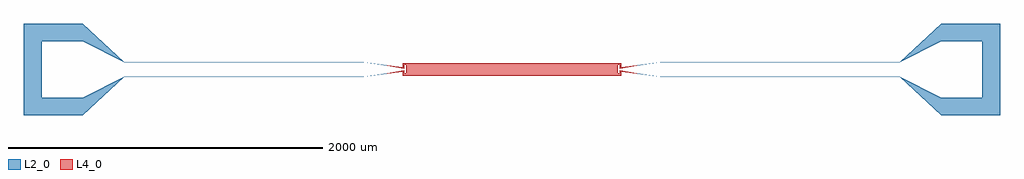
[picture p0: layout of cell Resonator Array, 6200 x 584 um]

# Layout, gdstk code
import gdstk
lib = gdstk.Library(unit=1e-6, precision=1e-09)
def P(c, l, *ps):  # polygons
    for p in ps: c.add(gdstk.Polygon(p, *l))
L2_0 = (2, 0)
L4_0 = (4, 0)

resonator_array = lib.new_cell('Resonator Array')
P(resonator_array, L2_0, [(1437,51.306),(1437,47.259),(1587,69.9),(3108.25,69.9),(3370.125,204.9),(3632,204.9),(3632,-155.1),(3370.125,-155.1),(3108.25,-20.1),(1587,-20.1),(1437,2.541),(1437,-1.506),(1587,-21.6),(3108.25,-21.6),(3370.125,-267.1),(3744,-267.1),(3744,316.9),(3370.125,316.9),(3108.25,71.4),(1587,71.4)],
  [(-2456,316.9),(-2456,-267.1),(-2082.125,-267.1),(-1820.25,-21.6),(-299,-21.6),(-149,-1.506),(-149,2.541),(-299,-20.1),(-1820.25,-20.1),(-2082.125,-155.1),(-2344,-155.1),(-2344,204.9),(-2082.125,204.9),(-1820.25,69.9),(-299,69.9),(-149,47.259),(-149,51.306),(-299,71.4),(-1820.25,71.4),(-2082.125,316.9)])
P(resonator_array, L4_0, [(362.5,64.8),(336.25,64.8),(336.25,55.65),(327.1,55.65),(327.1,51.15),(345.4,51.15),(345.4,45.65),(327.1,45.65),(327.1,41.15),(345.4,41.15),(345.4,35.65),(327.1,35.65),(327.1,31.15),(345.4,31.15),(345.4,25.65),(327.1,25.65),(327.1,21.15),(345.4,21.15),(345.4,15.65),(327.1,15.65),(327.1,11.15),(336.25,11.15),(336.25,2),(353,2),(353,56.15),(355,56.15),(355,0),(317,0),(317,56.15),(319,56.15),(319,2),(335.75,2),(335.75,10.65),(326.6,10.65),(326.6,16.15),(344.9,16.15),(344.9,20.65),(326.6,20.65),(326.6,26.15),(344.9,26.15),(344.9,30.65),(326.6,30.65),(326.6,36.15),(344.9,36.15),(344.9,40.65),(326.6,40.65),(326.6,46.15),(344.9,46.15),(344.9,50.65),(326.6,50.65),(326.6,56.15),(335.75,56.15),(335.75,64.8),(309.5,64.8),(309.5,-15),(362.5,-15)],
  [(82.5,64.8),(56.25,64.8),(56.25,55.65),(47.1,55.65),(47.1,51.15),(65.4,51.15),(65.4,45.65),(47.1,45.65),(47.1,41.15),(65.4,41.15),(65.4,35.65),(47.1,35.65),(47.1,31.15),(65.4,31.15),(65.4,25.65),(47.1,25.65),(47.1,21.15),(65.4,21.15),(65.4,15.65),(47.1,15.65),(47.1,11.15),(56.25,11.15),(56.25,2),(73,2),(73,56.15),(75,56.15),(75,0),(37,0),(37,56.15),(39,56.15),(39,2),(55.75,2),(55.75,10.65),(46.6,10.65),(46.6,16.15),(64.9,16.15),(64.9,20.65),(46.6,20.65),(46.6,26.15),(64.9,26.15),(64.9,30.65),(46.6,30.65),(46.6,36.15),(64.9,36.15),(64.9,40.65),(46.6,40.65),(46.6,46.15),(64.9,46.15),(64.9,50.65),(46.6,50.65),(46.6,56.15),(55.75,56.15),(55.75,64.8),(29.5,64.8),(29.5,-15),(82.5,-15)],
  [(194.5,64.8),(168.25,64.8),(168.25,55.65),(159.1,55.65),(159.1,51.15),(177.4,51.15),(177.4,45.65),(159.1,45.65),(159.1,41.15),(177.4,41.15),(177.4,35.65),(159.1,35.65),(159.1,31.15),(177.4,31.15),(177.4,25.65),(159.1,25.65),(159.1,21.15),(177.4,21.15),(177.4,15.65),(159.1,15.65),(159.1,11.15),(168.25,11.15),(168.25,2),(185,2),(185,56.15),(187,56.15),(187,0),(149,0),(149,56.15),(151,56.15),(151,2),(167.75,2),(167.75,10.65),(158.6,10.65),(158.6,16.15),(176.9,16.15),(176.9,20.65),(158.6,20.65),(158.6,26.15),(176.9,26.15),(176.9,30.65),(158.6,30.65),(158.6,36.15),(176.9,36.15),(176.9,40.65),(158.6,40.65),(158.6,46.15),(176.9,46.15),(176.9,50.65),(158.6,50.65),(158.6,56.15),(167.75,56.15),(167.75,64.8),(141.5,64.8),(141.5,-15),(194.5,-15)],
  [(138.5,64.8),(112.25,64.8),(112.25,55.65),(103.1,55.65),(103.1,51.15),(121.4,51.15),(121.4,45.65),(103.1,45.65),(103.1,41.15),(121.4,41.15),(121.4,35.65),(103.1,35.65),(103.1,31.15),(121.4,31.15),(121.4,25.65),(103.1,25.65),(103.1,21.15),(121.4,21.15),(121.4,15.65),(103.1,15.65),(103.1,11.15),(112.25,11.15),(112.25,2),(129,2),(129,56.15),(131,56.15),(131,0),(93,0),(93,56.15),(95,56.15),(95,2),(111.75,2),(111.75,10.65),(102.6,10.65),(102.6,16.15),(120.9,16.15),(120.9,20.65),(102.6,20.65),(102.6,26.15),(120.9,26.15),(120.9,30.65),(102.6,30.65),(102.6,36.15),(120.9,36.15),(120.9,40.65),(102.6,40.65),(102.6,46.15),(120.9,46.15),(120.9,50.65),(102.6,50.65),(102.6,56.15),(111.75,56.15),(111.75,64.8),(85.5,64.8),(85.5,-15),(138.5,-15)],
  [(866.5,64.8),(840.25,64.8),(840.25,55.65),(831.1,55.65),(831.1,51.15),(849.4,51.15),(849.4,45.65),(831.1,45.65),(831.1,41.15),(849.4,41.15),(849.4,35.65),(831.1,35.65),(831.1,31.15),(849.4,31.15),(849.4,25.65),(831.1,25.65),(831.1,21.15),(849.4,21.15),(849.4,15.65),(831.1,15.65),(831.1,11.15),(840.25,11.15),(840.25,2),(857,2),(857,56.15),(859,56.15),(859,0),(821,0),(821,56.15),(823,56.15),(823,2),(839.75,2),(839.75,10.65),(830.6,10.65),(830.6,16.15),(848.9,16.15),(848.9,20.65),(830.6,20.65),(830.6,26.15),(848.9,26.15),(848.9,30.65),(830.6,30.65),(830.6,36.15),(848.9,36.15),(848.9,40.65),(830.6,40.65),(830.6,46.15),(848.9,46.15),(848.9,50.65),(830.6,50.65),(830.6,56.15),(839.75,56.15),(839.75,64.8),(813.5,64.8),(813.5,-15),(866.5,-15)],
  [(922.5,64.8),(896.25,64.8),(896.25,55.65),(887.1,55.65),(887.1,51.15),(905.4,51.15),(905.4,45.65),(887.1,45.65),(887.1,41.15),(905.4,41.15),(905.4,35.65),(887.1,35.65),(887.1,31.15),(905.4,31.15),(905.4,25.65),(887.1,25.65),(887.1,21.15),(905.4,21.15),(905.4,15.65),(887.1,15.65),(887.1,11.15),(896.25,11.15),(896.25,2),(913,2),(913,56.15),(915,56.15),(915,0),(877,0),(877,56.15),(879,56.15),(879,2),(895.75,2),(895.75,10.65),(886.6,10.65),(886.6,16.15),(904.9,16.15),(904.9,20.65),(886.6,20.65),(886.6,26.15),(904.9,26.15),(904.9,30.65),(886.6,30.65),(886.6,36.15),(904.9,36.15),(904.9,40.65),(886.6,40.65),(886.6,46.15),(904.9,46.15),(904.9,50.65),(886.6,50.65),(886.6,56.15),(895.75,56.15),(895.75,64.8),(869.5,64.8),(869.5,-15),(922.5,-15)],
  [(418.5,64.8),(392.25,64.8),(392.25,55.65),(383.1,55.65),(383.1,51.15),(401.4,51.15),(401.4,45.65),(383.1,45.65),(383.1,41.15),(401.4,41.15),(401.4,35.65),(383.1,35.65),(383.1,31.15),(401.4,31.15),(401.4,25.65),(383.1,25.65),(383.1,21.15),(401.4,21.15),(401.4,15.65),(383.1,15.65),(383.1,11.15),(392.25,11.15),(392.25,2),(409,2),(409,56.15),(411,56.15),(411,0),(373,0),(373,56.15),(375,56.15),(375,2),(391.75,2),(391.75,10.65),(382.6,10.65),(382.6,16.15),(400.9,16.15),(400.9,20.65),(382.6,20.65),(382.6,26.15),(400.9,26.15),(400.9,30.65),(382.6,30.65),(382.6,36.15),(400.9,36.15),(400.9,40.65),(382.6,40.65),(382.6,46.15),(400.9,46.15),(400.9,50.65),(382.6,50.65),(382.6,56.15),(391.75,56.15),(391.75,64.8),(365.5,64.8),(365.5,-15),(418.5,-15)],
  [(978.5,64.8),(952.25,64.8),(952.25,55.65),(943.1,55.65),(943.1,51.15),(961.4,51.15),(961.4,45.65),(943.1,45.65),(943.1,41.15),(961.4,41.15),(961.4,35.65),(943.1,35.65),(943.1,31.15),(961.4,31.15),(961.4,25.65),(943.1,25.65),(943.1,21.15),(961.4,21.15),(961.4,15.65),(943.1,15.65),(943.1,11.15),(952.25,11.15),(952.25,2),(969,2),(969,56.15),(971,56.15),(971,0),(933,0),(933,56.15),(935,56.15),(935,2),(951.75,2),(951.75,10.65),(942.6,10.65),(942.6,16.15),(960.9,16.15),(960.9,20.65),(942.6,20.65),(942.6,26.15),(960.9,26.15),(960.9,30.65),(942.6,30.65),(942.6,36.15),(960.9,36.15),(960.9,40.65),(942.6,40.65),(942.6,46.15),(960.9,46.15),(960.9,50.65),(942.6,50.65),(942.6,56.15),(951.75,56.15),(951.75,64.8),(925.5,64.8),(925.5,-15),(978.5,-15)],
  [(474.5,64.8),(448.25,64.8),(448.25,55.65),(439.1,55.65),(439.1,51.15),(457.4,51.15),(457.4,45.65),(439.1,45.65),(439.1,41.15),(457.4,41.15),(457.4,35.65),(439.1,35.65),(439.1,31.15),(457.4,31.15),(457.4,25.65),(439.1,25.65),(439.1,21.15),(457.4,21.15),(457.4,15.65),(439.1,15.65),(439.1,11.15),(448.25,11.15),(448.25,2),(465,2),(465,56.15),(467,56.15),(467,0),(429,0),(429,56.15),(431,56.15),(431,2),(447.75,2),(447.75,10.65),(438.6,10.65),(438.6,16.15),(456.9,16.15),(456.9,20.65),(438.6,20.65),(438.6,26.15),(456.9,26.15),(456.9,30.65),(438.6,30.65),(438.6,36.15),(456.9,36.15),(456.9,40.65),(438.6,40.65),(438.6,46.15),(456.9,46.15),(456.9,50.65),(438.6,50.65),(438.6,56.15),(447.75,56.15),(447.75,64.8),(421.5,64.8),(421.5,-15),(474.5,-15)],
  [(530.5,64.8),(504.25,64.8),(504.25,55.65),(495.1,55.65),(495.1,51.15),(513.4,51.15),(513.4,45.65),(495.1,45.65),(495.1,41.15),(513.4,41.15),(513.4,35.65),(495.1,35.65),(495.1,31.15),(513.4,31.15),(513.4,25.65),(495.1,25.65),(495.1,21.15),(513.4,21.15),(513.4,15.65),(495.1,15.65),(495.1,11.15),(504.25,11.15),(504.25,2),(521,2),(521,56.15),(523,56.15),(523,0),(485,0),(485,56.15),(487,56.15),(487,2),(503.75,2),(503.75,10.65),(494.6,10.65),(494.6,16.15),(512.9,16.15),(512.9,20.65),(494.6,20.65),(494.6,26.15),(512.9,26.15),(512.9,30.65),(494.6,30.65),(494.6,36.15),(512.9,36.15),(512.9,40.65),(494.6,40.65),(494.6,46.15),(512.9,46.15),(512.9,50.65),(494.6,50.65),(494.6,56.15),(503.75,56.15),(503.75,64.8),(477.5,64.8),(477.5,-15),(530.5,-15)],
  [(1034.5,64.8),(1008.25,64.8),(1008.25,55.65),(999.1,55.65),(999.1,51.15),(1017.4,51.15),(1017.4,45.65),(999.1,45.65),(999.1,41.15),(1017.4,41.15),(1017.4,35.65),(999.1,35.65),(999.1,31.15),(1017.4,31.15),(1017.4,25.65),(999.1,25.65),(999.1,21.15),(1017.4,21.15),(1017.4,15.65),(999.1,15.65),(999.1,11.15),(1008.25,11.15),(1008.25,2),(1025,2),(1025,56.15),(1027,56.15),(1027,0),(989,0),(989,56.15),(991,56.15),(991,2),(1007.75,2),(1007.75,10.65),(998.6,10.65),(998.6,16.15),(1016.9,16.15),(1016.9,20.65),(998.6,20.65),(998.6,26.15),(1016.9,26.15),(1016.9,30.65),(998.6,30.65),(998.6,36.15),(1016.9,36.15),(1016.9,40.65),(998.6,40.65),(998.6,46.15),(1016.9,46.15),(1016.9,50.65),(998.6,50.65),(998.6,56.15),(1007.75,56.15),(1007.75,64.8),(981.5,64.8),(981.5,-15),(1034.5,-15)],
  [(586.5,64.8),(560.25,64.8),(560.25,55.65),(551.1,55.65),(551.1,51.15),(569.4,51.15),(569.4,45.65),(551.1,45.65),(551.1,41.15),(569.4,41.15),(569.4,35.65),(551.1,35.65),(551.1,31.15),(569.4,31.15),(569.4,25.65),(551.1,25.65),(551.1,21.15),(569.4,21.15),(569.4,15.65),(551.1,15.65),(551.1,11.15),(560.25,11.15),(560.25,2),(577,2),(577,56.15),(579,56.15),(579,0),(541,0),(541,56.15),(543,56.15),(543,2),(559.75,2),(559.75,10.65),(550.6,10.65),(550.6,16.15),(568.9,16.15),(568.9,20.65),(550.6,20.65),(550.6,26.15),(568.9,26.15),(568.9,30.65),(550.6,30.65),(550.6,36.15),(568.9,36.15),(568.9,40.65),(550.6,40.65),(550.6,46.15),(568.9,46.15),(568.9,50.65),(550.6,50.65),(550.6,56.15),(559.75,56.15),(559.75,64.8),(533.5,64.8),(533.5,-15),(586.5,-15)],
  [(1090.5,64.8),(1064.25,64.8),(1064.25,55.65),(1055.1,55.65),(1055.1,51.15),(1073.4,51.15),(1073.4,45.65),(1055.1,45.65),(1055.1,41.15),(1073.4,41.15),(1073.4,35.65),(1055.1,35.65),(1055.1,31.15),(1073.4,31.15),(1073.4,25.65),(1055.1,25.65),(1055.1,21.15),(1073.4,21.15),(1073.4,15.65),(1055.1,15.65),(1055.1,11.15),(1064.25,11.15),(1064.25,2),(1081,2),(1081,56.15),(1083,56.15),(1083,0),(1045,0),(1045,56.15),(1047,56.15),(1047,2),(1063.75,2),(1063.75,10.65),(1054.6,10.65),(1054.6,16.15),(1072.9,16.15),(1072.9,20.65),(1054.6,20.65),(1054.6,26.15),(1072.9,26.15),(1072.9,30.65),(1054.6,30.65),(1054.6,36.15),(1072.9,36.15),(1072.9,40.65),(1054.6,40.65),(1054.6,46.15),(1072.9,46.15),(1072.9,50.65),(1054.6,50.65),(1054.6,56.15),(1063.75,56.15),(1063.75,64.8),(1037.5,64.8),(1037.5,-15),(1090.5,-15)],
  [(642.5,64.8),(616.25,64.8),(616.25,55.65),(607.1,55.65),(607.1,51.15),(625.4,51.15),(625.4,45.65),(607.1,45.65),(607.1,41.15),(625.4,41.15),(625.4,35.65),(607.1,35.65),(607.1,31.15),(625.4,31.15),(625.4,25.65),(607.1,25.65),(607.1,21.15),(625.4,21.15),(625.4,15.65),(607.1,15.65),(607.1,11.15),(616.25,11.15),(616.25,2),(633,2),(633,56.15),(635,56.15),(635,0),(597,0),(597,56.15),(599,56.15),(599,2),(615.75,2),(615.75,10.65),(606.6,10.65),(606.6,16.15),(624.9,16.15),(624.9,20.65),(606.6,20.65),(606.6,26.15),(624.9,26.15),(624.9,30.65),(606.6,30.65),(606.6,36.15),(624.9,36.15),(624.9,40.65),(606.6,40.65),(606.6,46.15),(624.9,46.15),(624.9,50.65),(606.6,50.65),(606.6,56.15),(615.75,56.15),(615.75,64.8),(589.5,64.8),(589.5,-15),(642.5,-15)],
  [(250.5,64.8),(224.25,64.8),(224.25,55.65),(215.1,55.65),(215.1,51.15),(233.4,51.15),(233.4,45.65),(215.1,45.65),(215.1,41.15),(233.4,41.15),(233.4,35.65),(215.1,35.65),(215.1,31.15),(233.4,31.15),(233.4,25.65),(215.1,25.65),(215.1,21.15),(233.4,21.15),(233.4,15.65),(215.1,15.65),(215.1,11.15),(224.25,11.15),(224.25,2),(241,2),(241,56.15),(243,56.15),(243,0),(205,0),(205,56.15),(207,56.15),(207,2),(223.75,2),(223.75,10.65),(214.6,10.65),(214.6,16.15),(232.9,16.15),(232.9,20.65),(214.6,20.65),(214.6,26.15),(232.9,26.15),(232.9,30.65),(214.6,30.65),(214.6,36.15),(232.9,36.15),(232.9,40.65),(214.6,40.65),(214.6,46.15),(232.9,46.15),(232.9,50.65),(214.6,50.65),(214.6,56.15),(223.75,56.15),(223.75,64.8),(197.5,64.8),(197.5,-15),(250.5,-15)],
  [(698.5,64.8),(672.25,64.8),(672.25,55.65),(663.1,55.65),(663.1,51.15),(681.4,51.15),(681.4,45.65),(663.1,45.65),(663.1,41.15),(681.4,41.15),(681.4,35.65),(663.1,35.65),(663.1,31.15),(681.4,31.15),(681.4,25.65),(663.1,25.65),(663.1,21.15),(681.4,21.15),(681.4,15.65),(663.1,15.65),(663.1,11.15),(672.25,11.15),(672.25,2),(689,2),(689,56.15),(691,56.15),(691,0),(653,0),(653,56.15),(655,56.15),(655,2),(671.75,2),(671.75,10.65),(662.6,10.65),(662.6,16.15),(680.9,16.15),(680.9,20.65),(662.6,20.65),(662.6,26.15),(680.9,26.15),(680.9,30.65),(662.6,30.65),(662.6,36.15),(680.9,36.15),(680.9,40.65),(662.6,40.65),(662.6,46.15),(680.9,46.15),(680.9,50.65),(662.6,50.65),(662.6,56.15),(671.75,56.15),(671.75,64.8),(645.5,64.8),(645.5,-15),(698.5,-15)],
  [(1146.5,64.8),(1120.25,64.8),(1120.25,55.65),(1111.1,55.65),(1111.1,51.15),(1129.4,51.15),(1129.4,45.65),(1111.1,45.65),(1111.1,41.15),(1129.4,41.15),(1129.4,35.65),(1111.1,35.65),(1111.1,31.15),(1129.4,31.15),(1129.4,25.65),(1111.1,25.65),(1111.1,21.15),(1129.4,21.15),(1129.4,15.65),(1111.1,15.65),(1111.1,11.15),(1120.25,11.15),(1120.25,2),(1137,2),(1137,56.15),(1139,56.15),(1139,0),(1101,0),(1101,56.15),(1103,56.15),(1103,2),(1119.75,2),(1119.75,10.65),(1110.6,10.65),(1110.6,16.15),(1128.9,16.15),(1128.9,20.65),(1110.6,20.65),(1110.6,26.15),(1128.9,26.15),(1128.9,30.65),(1110.6,30.65),(1110.6,36.15),(1128.9,36.15),(1128.9,40.65),(1110.6,40.65),(1110.6,46.15),(1128.9,46.15),(1128.9,50.65),(1110.6,50.65),(1110.6,56.15),(1119.75,56.15),(1119.75,64.8),(1093.5,64.8),(1093.5,-15),(1146.5,-15)],
  [(754.5,64.8),(728.25,64.8),(728.25,55.65),(719.1,55.65),(719.1,51.15),(737.4,51.15),(737.4,45.65),(719.1,45.65),(719.1,41.15),(737.4,41.15),(737.4,35.65),(719.1,35.65),(719.1,31.15),(737.4,31.15),(737.4,25.65),(719.1,25.65),(719.1,21.15),(737.4,21.15),(737.4,15.65),(719.1,15.65),(719.1,11.15),(728.25,11.15),(728.25,2),(745,2),(745,56.15),(747,56.15),(747,0),(709,0),(709,56.15),(711,56.15),(711,2),(727.75,2),(727.75,10.65),(718.6,10.65),(718.6,16.15),(736.9,16.15),(736.9,20.65),(718.6,20.65),(718.6,26.15),(736.9,26.15),(736.9,30.65),(718.6,30.65),(718.6,36.15),(736.9,36.15),(736.9,40.65),(718.6,40.65),(718.6,46.15),(736.9,46.15),(736.9,50.65),(718.6,50.65),(718.6,56.15),(727.75,56.15),(727.75,64.8),(701.5,64.8),(701.5,-15),(754.5,-15)],
  [(1202.5,64.8),(1176.25,64.8),(1176.25,55.65),(1167.1,55.65),(1167.1,51.15),(1185.4,51.15),(1185.4,45.65),(1167.1,45.65),(1167.1,41.15),(1185.4,41.15),(1185.4,35.65),(1167.1,35.65),(1167.1,31.15),(1185.4,31.15),(1185.4,25.65),(1167.1,25.65),(1167.1,21.15),(1185.4,21.15),(1185.4,15.65),(1167.1,15.65),(1167.1,11.15),(1176.25,11.15),(1176.25,2),(1193,2),(1193,56.15),(1195,56.15),(1195,0),(1157,0),(1157,56.15),(1159,56.15),(1159,2),(1175.75,2),(1175.75,10.65),(1166.6,10.65),(1166.6,16.15),(1184.9,16.15),(1184.9,20.65),(1166.6,20.65),(1166.6,26.15),(1184.9,26.15),(1184.9,30.65),(1166.6,30.65),(1166.6,36.15),(1184.9,36.15),(1184.9,40.65),(1166.6,40.65),(1166.6,46.15),(1184.9,46.15),(1184.9,50.65),(1166.6,50.65),(1166.6,56.15),(1175.75,56.15),(1175.75,64.8),(1149.5,64.8),(1149.5,-15),(1202.5,-15)],
  [(26.5,64.8),(0.25,64.8),(0.25,55.65),(-8.9,55.65),(-8.9,51.15),(9.4,51.15),(9.4,45.65),(-8.9,45.65),(-8.9,41.15),(9.4,41.15),(9.4,35.65),(-8.9,35.65),(-8.9,31.15),(9.4,31.15),(9.4,25.65),(-8.9,25.65),(-8.9,21.15),(9.4,21.15),(9.4,15.65),(-8.9,15.65),(-8.9,11.15),(0.25,11.15),(0.25,2),(17,2),(17,56.15),(19,56.15),(19,0),(-19,0),(-19,56.15),(-17,56.15),(-17,2),(-0.25,2),(-0.25,10.65),(-9.4,10.65),(-9.4,16.15),(8.9,16.15),(8.9,20.65),(-9.4,20.65),(-9.4,26.15),(8.9,26.15),(8.9,30.65),(-9.4,30.65),(-9.4,36.15),(8.9,36.15),(8.9,40.65),(-9.4,40.65),(-9.4,46.15),(8.9,46.15),(8.9,50.65),(-9.4,50.65),(-9.4,56.15),(-0.25,56.15),(-0.25,64.8),(-49,64.8),(-49,37.91),(-150,51.44),(-150,47.41),(-39,30.655),(-39,56.15),(-29,56.15),(-29,0),(-39,0),(-39,19.145),(-150,2.39),(-150,-1.64),(-49,11.89),(-49,-15),(26.5,-15)],
  [(306.5,64.8),(280.25,64.8),(280.25,55.65),(271.1,55.65),(271.1,51.15),(289.4,51.15),(289.4,45.65),(271.1,45.65),(271.1,41.15),(289.4,41.15),(289.4,35.65),(271.1,35.65),(271.1,31.15),(289.4,31.15),(289.4,25.65),(271.1,25.65),(271.1,21.15),(289.4,21.15),(289.4,15.65),(271.1,15.65),(271.1,11.15),(280.25,11.15),(280.25,2),(297,2),(297,56.15),(299,56.15),(299,0),(261,0),(261,56.15),(263,56.15),(263,2),(279.75,2),(279.75,10.65),(270.6,10.65),(270.6,16.15),(288.9,16.15),(288.9,20.65),(270.6,20.65),(270.6,26.15),(288.9,26.15),(288.9,30.65),(270.6,30.65),(270.6,36.15),(288.9,36.15),(288.9,40.65),(270.6,40.65),(270.6,46.15),(288.9,46.15),(288.9,50.65),(270.6,50.65),(270.6,56.15),(279.75,56.15),(279.75,64.8),(253.5,64.8),(253.5,-15),(306.5,-15)],
  [(1258.5,64.8),(1232.25,64.8),(1232.25,55.65),(1223.1,55.65),(1223.1,51.15),(1241.4,51.15),(1241.4,45.65),(1223.1,45.65),(1223.1,41.15),(1241.4,41.15),(1241.4,35.65),(1223.1,35.65),(1223.1,31.15),(1241.4,31.15),(1241.4,25.65),(1223.1,25.65),(1223.1,21.15),(1241.4,21.15),(1241.4,15.65),(1223.1,15.65),(1223.1,11.15),(1232.25,11.15),(1232.25,2),(1249,2),(1249,56.15),(1251,56.15),(1251,0),(1213,0),(1213,56.15),(1215,56.15),(1215,2),(1231.75,2),(1231.75,10.65),(1222.6,10.65),(1222.6,16.15),(1240.9,16.15),(1240.9,20.65),(1222.6,20.65),(1222.6,26.15),(1240.9,26.15),(1240.9,30.65),(1222.6,30.65),(1222.6,36.15),(1240.9,36.15),(1240.9,40.65),(1222.6,40.65),(1222.6,46.15),(1240.9,46.15),(1240.9,50.65),(1222.6,50.65),(1222.6,56.15),(1231.75,56.15),(1231.75,64.8),(1205.5,64.8),(1205.5,-15),(1258.5,-15)],
  [(810.5,64.8),(784.25,64.8),(784.25,55.65),(775.1,55.65),(775.1,51.15),(793.4,51.15),(793.4,45.65),(775.1,45.65),(775.1,41.15),(793.4,41.15),(793.4,35.65),(775.1,35.65),(775.1,31.15),(793.4,31.15),(793.4,25.65),(775.1,25.65),(775.1,21.15),(793.4,21.15),(793.4,15.65),(775.1,15.65),(775.1,11.15),(784.25,11.15),(784.25,2),(801,2),(801,56.15),(803,56.15),(803,0),(765,0),(765,56.15),(767,56.15),(767,2),(783.75,2),(783.75,10.65),(774.6,10.65),(774.6,16.15),(792.9,16.15),(792.9,20.65),(774.6,20.65),(774.6,26.15),(792.9,26.15),(792.9,30.65),(774.6,30.65),(774.6,36.15),(792.9,36.15),(792.9,40.65),(774.6,40.65),(774.6,46.15),(792.9,46.15),(792.9,50.65),(774.6,50.65),(774.6,56.15),(783.75,56.15),(783.75,64.8),(757.5,64.8),(757.5,-15),(810.5,-15)],
  [(1337,11.89),(1438,-1.64),(1438,2.39),(1327,19.145),(1327,0),(1317,0),(1317,56.15),(1327,56.15),(1327,30.655),(1438,47.41),(1438,51.44),(1337,37.91),(1337,64.8),(1288.25,64.8),(1288.25,55.65),(1279.1,55.65),(1279.1,51.15),(1297.4,51.15),(1297.4,45.65),(1279.1,45.65),(1279.1,41.15),(1297.4,41.15),(1297.4,35.65),(1279.1,35.65),(1279.1,31.15),(1297.4,31.15),(1297.4,25.65),(1279.1,25.65),(1279.1,21.15),(1297.4,21.15),(1297.4,15.65),(1279.1,15.65),(1279.1,11.15),(1288.25,11.15),(1288.25,2),(1305,2),(1305,56.15),(1307,56.15),(1307,0),(1269,0),(1269,56.15),(1271,56.15),(1271,2),(1287.75,2),(1287.75,10.65),(1278.6,10.65),(1278.6,16.15),(1296.9,16.15),(1296.9,20.65),(1278.6,20.65),(1278.6,26.15),(1296.9,26.15),(1296.9,30.65),(1278.6,30.65),(1278.6,36.15),(1296.9,36.15),(1296.9,40.65),(1278.6,40.65),(1278.6,46.15),(1296.9,46.15),(1296.9,50.65),(1278.6,50.65),(1278.6,56.15),(1287.75,56.15),(1287.75,64.8),(1261.5,64.8),(1261.5,-15),(1337,-15)])

lib.write_gds('Resonator_Array.gds')
